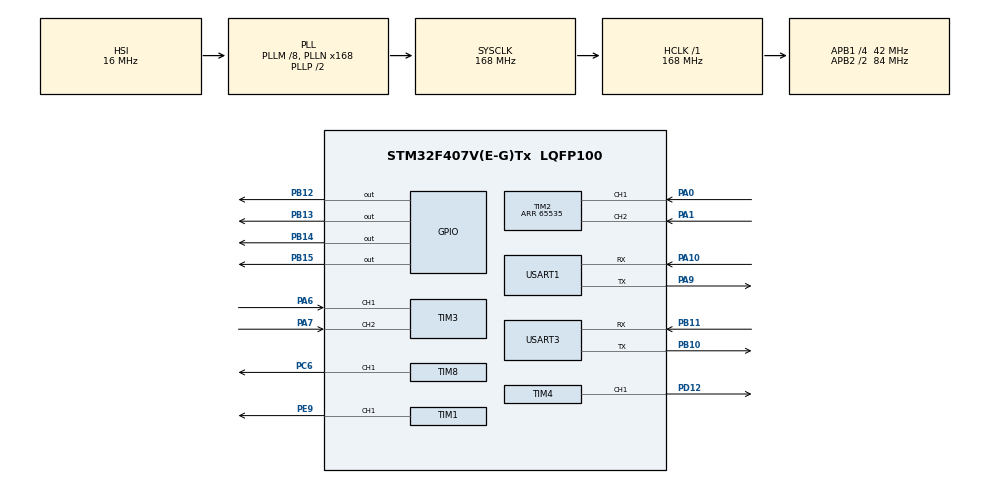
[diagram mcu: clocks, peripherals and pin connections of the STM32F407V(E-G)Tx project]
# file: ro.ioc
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Mcu.Family=STM32F4
Mcu.Name=STM32F407V(E-G)Tx
Mcu.Package=LQFP100
NVIC.PriorityGroup=NVIC_PRIORITYGROUP_4
NVIC.TIM6_DAC_IRQn=true\:0\:0\:false\:false\:true\:true\:true\:true
PA0-WKUP.Signal=S_TIM2_CH1_ETR
PA1.Signal=S_TIM2_CH2
PA10.Mode=Asynchronous
PA10.Signal=USART1_RX
PA13.Mode=Serial_Wire
PA13.Signal=SYS_JTMS-SWDIO
PA14.Mode=Serial_Wire
PA14.Signal=SYS_JTCK-SWCLK
PA6.Signal=S_TIM3_CH1
PA7.Signal=S_TIM3_CH2
PA9.Mode=Asynchronous
PA9.Signal=USART1_TX
PB10.Mode=Asynchronous
PB10.Signal=USART3_TX
PB11.Mode=Asynchronous
PB11.Signal=USART3_RX
PB12.PinState=GPIO_PIN_RESET
PB12.Signal=GPIO_Output
PB13.GPIO_PuPd=GPIO_NOPULL
PB13.Signal=GPIO_Output
PB14.GPIO_PuPd=GPIO_NOPULL
PB14.Signal=GPIO_Output
PB15.GPIO_PuPd=GPIO_NOPULL
PB15.Signal=GPIO_Output
PC6.Signal=S_TIM8_CH1
PD12.Signal=S_TIM4_CH1
PE9.Signal=S_TIM1_CH1
PH0-OSC_IN.Mode=HSE-External-Oscillator
PH0-OSC_IN.Signal=RCC_OSC_IN
PH1-OSC_OUT.Mode=HSE-External-Oscillator
PH1-OSC_OUT.Signal=RCC_OSC_OUT
ProjectManager.HeapSize=0x200
ProjectManager.StackSize=0x400
ProjectManager.TargetToolchain=CMake
RCC.48MHZClocksFreq_Value=84000000
RCC.AHBFreq_Value=168000000
RCC.APB1CLKDivider=RCC_HCLK_DIV4
RCC.APB1Freq_Value=42000000
RCC.APB1TimFreq_Value=84000000
RCC.APB2CLKDivider=RCC_HCLK_DIV2
RCC.APB2Freq_Value=84000000
RCC.APB2TimFreq_Value=168000000
RCC.CortexFreq_Value=168000000
RCC.HCLKFreq_Value=168000000
RCC.HSE_VALUE=25000000
RCC.HSI_VALUE=16000000
RCC.LSE_VALUE=32768
RCC.PLLM=8
RCC.PLLN=168
RCC.SYSCLKFreq_VALUE=168000000
RCC.SYSCLKSource=RCC_SYSCLKSOURCE_PLLCLK
RCC.VCOOutputFreq_Value=336000000
SH.S_TIM1_CH1.0=TIM1_CH1,PWM Generation1 CH1
SH.S_TIM2_CH1_ETR.0=TIM2_CH1,Encoder_Interface
SH.S_TIM2_CH2.0=TIM2_CH2,Encoder_Interface
SH.S_TIM3_CH1.0=TIM3_CH1,Encoder_Interface
SH.S_TIM3_CH2.0=TIM3_CH2,Encoder_Interface
SH.S_TIM4_CH1.0=TIM4_CH1,PWM Generation1 CH1
SH.S_TIM8_CH1.0=TIM8_CH1,PWM Generation1 CH1
TIM1.Channel-PWM\ Generation1\ CH1=TIM_CHANNEL_1
TIM1.Period=1000-1
TIM1.Prescaler=42-1
TIM2.EncoderMode=TIM_ENCODERMODE_TI12
TIM2.Period=65535
TIM3.EncoderMode=TIM_ENCODERMODE_TI12
TIM4.Channel-PWM\ Generation1\ CH1=TIM_CHANNEL_1
TIM4.Period=20000-1
TIM4.Prescaler=84-1
TIM6.Period=10000-1
TIM6.Prescaler=84-1
TIM8.Channel-PWM\ Generation1\ CH1=TIM_CHANNEL_1
TIM8.Period=1000-1
TIM8.Prescaler=42-1
USART1.VirtualMode=VM_ASYNC
USART3.VirtualMode=VM_ASYNC
VP_TIM6_VS_ClockSourceINT.Mode=Enable_Timer
board=custom

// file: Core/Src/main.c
/* USER CODE BEGIN Header */
/**
  ******************************************************************************
  * @file           : main.c
  * @brief          : Main program body
  ******************************************************************************
  * @attention
  *
  * Copyright (c) 2026 STMicroelectronics.
  * All rights reserved.
  *
  * This software is licensed under terms that can be found in the LICENSE file
  * in the root directory of this software component.
  * If no LICENSE file comes with this software, it is provided AS-IS.
  *
  ******************************************************************************
  */
/* USER CODE END Header */
#include "main.h"
#include "tim.h"
#include "usart.h"
#include "gpio.h"

/* USER CODE BEGIN Includes */
#include "move.h"
#include "servo.h"
#include "vision.h"   /* OpenMV 视觉接收端 */
/* USER CODE END Includes */

/* USER CODE BEGIN PTD */
//右电机--count1-- bo1 bo2/PB12 PB13--E2A E2B/ --bin1 bin2/PA1 PA0--
uint32_t count1 = 0;//记录编码器的计数值
uint32_t count2 = 0;//记录编码器的计数值
float actual1,out1;
float actual2,out2;
float target1 = 120,target2 = 120;//左右轮目标速度（编码器计数/10ms）；视觉在线时会由 vision_update_targets() 改写
//target在0-120之间
float kp_1 = 26,ki_1 = 0.8,kd_1 = 0.15;
float kp_2 = 26,ki_2 = 0.8,kd_2 = 0.15;
float error1,pre_error1,integral1,derivative1;
float error2,pre_error2,integral2,derivative2;

/* USER CODE END PTD */

void SystemClock_Config(void);
/* USER CODE BEGIN PFP */
  void HAL_TIM_PeriodElapsedCallback(TIM_HandleTypeDef *htim)
  {

    if (htim->Instance == TIM6)
    {

      /* 视觉：用最新一帧的左右偏差刷新左右轮目标速度；无目标/失联时回正直行。
         这一句不改变下面的 PID 与 run()，只是在算误差之前把目标值更新好。 */
      vision_update_targets(VISION_BASE_SPEED, VISION_KP_TURN, &target1, &target2);

      count1 = __HAL_TIM_GET_COUNTER(&htim2);
      count2 = __HAL_TIM_GET_COUNTER(&htim3);
      //HAL_UART_Transmit(&huart1, (uint8_t *)&count1, sizeof(count1), 3);
      //HAL_UART_Transmit(&huart1, (uint8_t *)&count2, sizeof(count2), 3);

      if(count1 > 32767) count1 = count1 - 65536;
      if(count2 > 32767) count2 = count2 - 65536;
      actual1 = count1;
      actual2 = count2;
      pre_error1 = error1;
      pre_error2 = error2;
      error1 = target1 - actual1;
      error2 = target2 - actual2;
      integral1 += error1;
      integral2 += error2;
      //防止积分过大
      if(integral1 > 2000) integral1 = 2000;
      if(integral1 < -2000) integral1 = -2000;
      if(integral2 > 2000) integral2 = 2000;
      if(integral2 < -2000) integral2 = -2000;

      out1 = kp_1 * error1 + ki_1 * integral1 + kd_1 * (error1 - pre_error1);
      out2 = kp_2 * error2 + ki_2 * integral2 + kd_2 * (error2 - pre_error2);
      if(out1 > 1000) out1 = 1000;
      if(out1 < -1000) out1 = -1000;
      if(out2 > 1000) out2 = 1000;
      if(out2 < -1000) out2 = -1000;

    run(out1, out2,&target1,&target2);

      __HAL_TIM_SET_COUNTER(&htim2, 0);
      __HAL_TIM_SET_COUNTER(&htim3, 0);
    }
  }
  //每10ms中断一次，读取编码器的计数值，并清零计数器
/* USER CODE END PFP */

int main(void)
{

  /* MCU Configuration--------------------------------------------------------*/

  /* Reset of all peripherals, Initializes the Flash interface and the Systick. */
  HAL_Init();

  /* Configure the system clock */
  SystemClock_Config();

  /* Initialize all configured peripherals */
  MX_GPIO_Init();
  MX_TIM2_Init();
  MX_TIM3_Init();
  MX_TIM6_Init();
  MX_TIM1_Init();
  MX_TIM8_Init();
  MX_USART1_UART_Init();
  MX_TIM4_Init();
  MX_USART3_UART_Init();
  /* USER CODE BEGIN 2 */

  /* 视觉接收（OpenMV 接 USART3：PB10=TX / PB11=RX），只开接收中断，不阻塞主循环 */
  vision_init();

  HAL_TIM_Encoder_Start(&htim2, TIM_CHANNEL_ALL);
  HAL_TIM_Encoder_Start(&htim3, TIM_CHANNEL_ALL);
  HAL_TIM_Base_Start_IT(&htim6);
  HAL_TIM_PWM_Start(&htim1, TIM_CHANNEL_1);
  HAL_TIM_PWM_Start(&htim8, TIM_CHANNEL_1);
  /* USER CODE END 2 */

  /* Infinite loop */
  /* USER CODE BEGIN WHILE */
  while (1)
  {

   servo_set_angle(0);
  HAL_Delay(1000);
  servo_set_angle(90);
  HAL_Delay(1000);

   //HAL_UART_Transmit(&huart1, (uint8_t *)&count1, sizeof(count1), 8);
   //HAL_UART_Transmit(&huart1, (uint8_t *)&count2, sizeof(count2), 8);
    /* USER CODE END WHILE */

  }
}

void SystemClock_Config(void)
{
  RCC_OscInitTypeDef RCC_OscInitStruct = {0};
  RCC_ClkInitTypeDef RCC_ClkInitStruct = {0};

  /** Configure the main internal regulator output voltage
  */
  __HAL_RCC_PWR_CLK_ENABLE();
  __HAL_PWR_VOLTAGESCALING_CONFIG(PWR_REGULATOR_VOLTAGE_SCALE1);

  /** Initializes the RCC Oscillators according to the specified parameters
  * in the RCC_OscInitTypeDef structure.
  */
  RCC_OscInitStruct.OscillatorType = RCC_OSCILLATORTYPE_HSI;
  RCC_OscInitStruct.HSIState = RCC_HSI_ON;
  RCC_OscInitStruct.HSICalibrationValue = RCC_HSICALIBRATION_DEFAULT;
  RCC_OscInitStruct.PLL.PLLState = RCC_PLL_ON;
  RCC_OscInitStruct.PLL.PLLSource = RCC_PLLSOURCE_HSI;
  RCC_OscInitStruct.PLL.PLLM = 8;
  RCC_OscInitStruct.PLL.PLLN = 168;
  RCC_OscInitStruct.PLL.PLLP = RCC_PLLP_DIV2;
  RCC_OscInitStruct.PLL.PLLQ = 4;
  if (HAL_RCC_OscConfig(&RCC_OscInitStruct) != HAL_OK)
  {
    Error_Handler();
  }

  /** Initializes the CPU, AHB and APB buses clocks
  */
  RCC_ClkInitStruct.ClockType = RCC_CLOCKTYPE_HCLK|RCC_CLOCKTYPE_SYSCLK
                              |RCC_CLOCKTYPE_PCLK1|RCC_CLOCKTYPE_PCLK2;
  RCC_ClkInitStruct.SYSCLKSource = RCC_SYSCLKSOURCE_PLLCLK;
  RCC_ClkInitStruct.AHBCLKDivider = RCC_SYSCLK_DIV1;
  RCC_ClkInitStruct.APB1CLKDivider = RCC_HCLK_DIV4;
  RCC_ClkInitStruct.APB2CLKDivider = RCC_HCLK_DIV2;

  if (HAL_RCC_ClockConfig(&RCC_ClkInitStruct, FLASH_LATENCY_5) != HAL_OK)
  {
    Error_Handler();
  }
}

void Error_Handler(void)
{
  __disable_irq();
  while (1)
  {
  }
}
